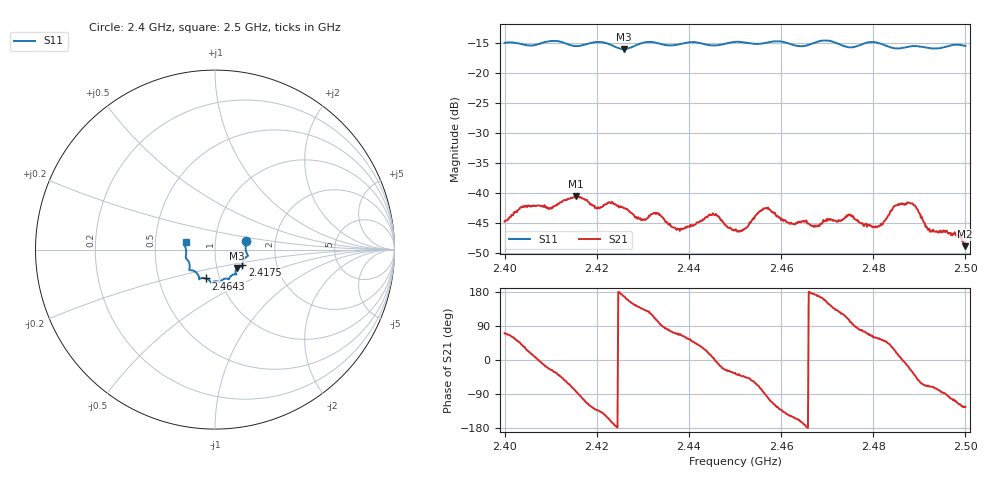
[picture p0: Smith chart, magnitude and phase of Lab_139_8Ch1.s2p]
# Hz S RI R 50
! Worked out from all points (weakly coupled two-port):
!   601 points, 2.4 GHz to 2.5 GHz, reference 50 ohm
!   highest |S21| = -40.54 dB at 2.4155 GHz (marker M1); lowest = -48.8 dB at 2.4998 GHz (marker M2)
!   lowest |S11| = -15.9 dB at 2.4258 GHz (marker M3), VSWR 1.38, Z = 62.3 - j13.2 ohm
!   |S11| at or under -10 dB: start of sweep to end of sweep
!   S12 and S22 are empty: the file has one direction only
!   S11 on the Smith chart (normalised r, x): 2.4 GHz: 1.41, +0.14; 2.4175 GHz: 1.34, -0.23; 2.4643 GHz: 0.86, -0.28; 2.5 GHz: 0.72, +0.06
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2.4e9  0.1732 0.0486  0.00191 0.00549  0 0  0 0
2.403833e9  0.173 0.0269  0.00593 0.00478  0 0  0 0
2.409833e9  0.1828 -0.0325  0.00683 -0.00305  0 0  0 0
2.4155e9  0.1575 -0.0609  0.00114 -0.00933  0 0  0 0
2.416667e9  0.1533 -0.0747  -0.00129 -0.00905  0 0  0 0
2.4175e9  0.1521 -0.0842  -0.00292 -0.0083  0 0  0 0
2.425833e9  0.1214 -0.1035  -0.00735 0.00154  0 0  0 0
2.430167e9  0.1178 -0.1368  -0.00418 0.00441  0 0  0 0
2.433333e9  0.1131 -0.1375  -0.00127 0.00671  0 0  0 0
2.437667e9  0.0837 -0.1527  0.00174 0.00471  0 0  0 0
2.445667e9  0.0501 -0.1635  0.00656 -0.000105  0 0  0 0
2.45e9  0.0288 -0.1809  0.00405 -0.00273  0 0  0 0
2.456667e9  -0.0114 -0.1793  -0.000227 -0.00752  0 0  0 0
2.464333e9  -0.0501 -0.1607  -0.00548 -0.00163  0 0  0 0
2.466667e9  -0.0761 -0.1592  -0.00536 0.00049  0 0  0 0
2.474833e9  -0.1046 -0.1277  -0.00163 0.00648  0 0  0 0
2.480333e9  -0.1433 -0.1124  0.00265 0.00448  0 0  0 0
2.483333e9  -0.1407 -0.0899  0.00478 0.00449  0 0  0 0
2.488167e9  -0.161 -0.0492  0.00734 -0.0037  0 0  0 0
2.492167e9  -0.1609 -0.0237  0.00177 -0.00474  0 0  0 0
2.499833e9  -0.1647 0.0416  -0.00197 -0.00304  0 0  0 0
2.5e9  -0.1639 0.0428  -0.00208 -0.00309  0 0  0 0
